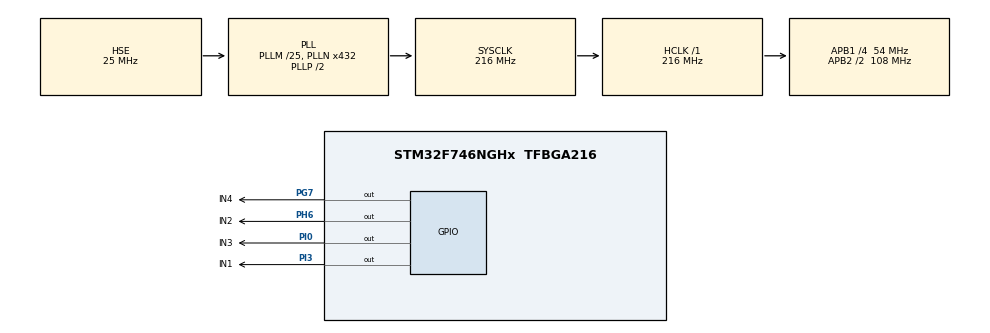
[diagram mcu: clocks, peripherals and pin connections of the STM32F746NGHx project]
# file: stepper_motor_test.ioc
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Mcu.Family=STM32F7
Mcu.Name=STM32F746NGHx
Mcu.Package=TFBGA216
NVIC.PriorityGroup=NVIC_PRIORITYGROUP_4
PA13.Mode=Serial_Wire
PA13.Signal=SYS_JTMS-SWDIO
PA14.Mode=Serial_Wire
PA14.Signal=SYS_JTCK-SWCLK
PG7.GPIO_Label=IN4
PG7.Signal=GPIO_Output
PH0/OSC_IN.Mode=HSE-External-Oscillator
PH0/OSC_IN.Signal=RCC_OSC_IN
PH1/OSC_OUT.Mode=HSE-External-Oscillator
PH1/OSC_OUT.Signal=RCC_OSC_OUT
PH6.GPIO_Label=IN2
PH6.Signal=GPIO_Output
PI0.GPIO_Label=IN3
PI0.Signal=GPIO_Output
PI3.GPIO_Label=IN1
PI3.Signal=GPIO_Output
ProjectManager.HeapSize=0x200
ProjectManager.StackSize=0x400
ProjectManager.TargetToolchain=STM32CubeIDE
RCC.AHBFreq_Value=216000000
RCC.APB1CLKDivider=RCC_HCLK_DIV4
RCC.APB1Freq_Value=54000000
RCC.APB1TimFreq_Value=108000000
RCC.APB2CLKDivider=RCC_HCLK_DIV2
RCC.APB2Freq_Value=108000000
RCC.APB2TimFreq_Value=216000000
RCC.CortexFreq_Value=216000000
RCC.DATA_CACHE_ENABLE=0
RCC.HCLKFreq_Value=216000000
RCC.HSE_VALUE=25000000
RCC.HSI_VALUE=16000000
RCC.INSTRUCTION_CACHE_ENABLE=0
RCC.LSE_VALUE=32768
RCC.PLLM=25
RCC.PLLN=432
RCC.PLLSourceVirtual=RCC_PLLSOURCE_HSE
RCC.PREFETCH_ENABLE=1
RCC.SYSCLKFreq_VALUE=216000000
RCC.SYSCLKSource=RCC_SYSCLKSOURCE_PLLCLK
RCC.USBFreq_Value=216000000
RCC.VCOOutputFreq_Value=432000000
TIM2.Period=0xffff-1
TIM2.Prescaler=108-1
VP_TIM2_VS_ClockSourceINT.Mode=Internal
board=STM32F746G-DISCO

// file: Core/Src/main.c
/* USER CODE BEGIN Header */
/**
  ******************************************************************************
  * @file           : main.c
  * @brief          : Main program body
  ******************************************************************************
  * @attention
  *
  * Copyright (c) 2022 STMicroelectronics.
  * All rights reserved.
  *
  * This software is licensed under terms that can be found in the LICENSE file
  * in the root directory of this software component.
  * If no LICENSE file comes with this software, it is provided AS-IS.
  *
  ******************************************************************************
  */
/* USER CODE END Header */
#include "main.h"
#include "tim.h"
#include "gpio.h"

/* USER CODE BEGIN PD */
#pragma clang diagnostic push
#pragma ide diagnostic ignored "EndlessLoop"
#define stepsperrev 4096
/* USER CODE END PD */

void SystemClock_Config(void);

/* USER CODE BEGIN 0 */
void stepper_step_angle(float angle, int direction, int rpm);

void stepper_half_drive(int step);

void stepper_set_rpm(int rpm);

void delay(uint16_t us);
/* USER CODE END 0 */

int main(void)
{

  /* MCU Configuration--------------------------------------------------------*/

  /* Reset of all peripherals, Initializes the Flash interface and the Systick. */
  HAL_Init();

  /* Configure the system clock */
  SystemClock_Config();

  /* Initialize all configured peripherals */
  MX_GPIO_Init();
  MX_TIM2_Init();
  /* USER CODE BEGIN 2 */
	HAL_TIM_Base_Start(&htim2);
  /* USER CODE END 2 */

  /* Infinite loop */
	while (1) {

    /* USER CODE BEGIN 3 */

		stepper_step_angle(360,1,1);
		HAL_Delay(100000);

	}
  /* USER CODE END 3 */
}

void SystemClock_Config(void)
{
  RCC_OscInitTypeDef RCC_OscInitStruct = {0};
  RCC_ClkInitTypeDef RCC_ClkInitStruct = {0};

  /** Configure the main internal regulator output voltage
  */
  __HAL_RCC_PWR_CLK_ENABLE();
  __HAL_PWR_VOLTAGESCALING_CONFIG(PWR_REGULATOR_VOLTAGE_SCALE1);

  /** Initializes the RCC Oscillators according to the specified parameters
  * in the RCC_OscInitTypeDef structure.
  */
  RCC_OscInitStruct.OscillatorType = RCC_OSCILLATORTYPE_HSE;
  RCC_OscInitStruct.HSEState = RCC_HSE_ON;
  RCC_OscInitStruct.PLL.PLLState = RCC_PLL_ON;
  RCC_OscInitStruct.PLL.PLLSource = RCC_PLLSOURCE_HSE;
  RCC_OscInitStruct.PLL.PLLM = 25;
  RCC_OscInitStruct.PLL.PLLN = 432;
  RCC_OscInitStruct.PLL.PLLP = RCC_PLLP_DIV2;
  RCC_OscInitStruct.PLL.PLLQ = 2;
  if (HAL_RCC_OscConfig(&RCC_OscInitStruct) != HAL_OK)
  {
    Error_Handler();
  }

  /** Activate the Over-Drive mode
  */
  if (HAL_PWREx_EnableOverDrive() != HAL_OK)
  {
    Error_Handler();
  }

  /** Initializes the CPU, AHB and APB buses clocks
  */
  RCC_ClkInitStruct.ClockType = RCC_CLOCKTYPE_HCLK|RCC_CLOCKTYPE_SYSCLK
                              |RCC_CLOCKTYPE_PCLK1|RCC_CLOCKTYPE_PCLK2;
  RCC_ClkInitStruct.SYSCLKSource = RCC_SYSCLKSOURCE_PLLCLK;
  RCC_ClkInitStruct.AHBCLKDivider = RCC_SYSCLK_DIV1;
  RCC_ClkInitStruct.APB1CLKDivider = RCC_HCLK_DIV4;
  RCC_ClkInitStruct.APB2CLKDivider = RCC_HCLK_DIV2;

  if (HAL_RCC_ClockConfig(&RCC_ClkInitStruct, FLASH_LATENCY_7) != HAL_OK)
  {
    Error_Handler();
  }
}

/* USER CODE BEGIN 4 */
void delay(uint16_t us) {
	__HAL_TIM_SET_COUNTER(&htim2, 0);
	while ((uint16_t)__HAL_TIM_GET_COUNTER(&htim2) < us);
}

void stepper_set_rpm(int rpm)  // Set rpm--> max 13, min 1,,,  went to 14 rev/min
{
	delay(60000000 / stepsperrev / rpm);
}

void stepper_half_drive(int step) {
	switch (step) {
		case 0:
			HAL_GPIO_WritePin(IN1_GPIO_Port, IN1_Pin, GPIO_PIN_SET);   // IN1
			HAL_GPIO_WritePin(IN2_GPIO_Port, IN2_Pin, GPIO_PIN_RESET);   // IN2
			HAL_GPIO_WritePin(IN3_GPIO_Port, IN3_Pin, GPIO_PIN_RESET);   // IN3
			HAL_GPIO_WritePin(IN4_GPIO_Port, IN4_Pin, GPIO_PIN_RESET);   // IN4
			break;

		case 1:
			HAL_GPIO_WritePin(IN1_GPIO_Port, IN1_Pin, GPIO_PIN_SET);   // IN1
			HAL_GPIO_WritePin(IN2_GPIO_Port, IN2_Pin, GPIO_PIN_SET);   // IN2
			HAL_GPIO_WritePin(IN3_GPIO_Port, IN3_Pin, GPIO_PIN_RESET);   // IN3
			HAL_GPIO_WritePin(IN4_GPIO_Port, IN4_Pin, GPIO_PIN_RESET);   // IN4
			break;

		case 2:
			HAL_GPIO_WritePin(IN1_GPIO_Port, IN1_Pin, GPIO_PIN_RESET);   // IN1
			HAL_GPIO_WritePin(IN2_GPIO_Port, IN2_Pin, GPIO_PIN_SET);   // IN2
			HAL_GPIO_WritePin(IN3_GPIO_Port, IN3_Pin, GPIO_PIN_RESET);   // IN3
			HAL_GPIO_WritePin(IN4_GPIO_Port, IN4_Pin, GPIO_PIN_RESET);   // IN4
			break;

		case 3:
			HAL_GPIO_WritePin(IN1_GPIO_Port, IN1_Pin, GPIO_PIN_RESET);   // IN1
			HAL_GPIO_WritePin(IN2_GPIO_Port, IN2_Pin, GPIO_PIN_SET);   // IN2
			HAL_GPIO_WritePin(IN3_GPIO_Port, IN3_Pin, GPIO_PIN_SET);   // IN3
			HAL_GPIO_WritePin(IN4_GPIO_Port, IN4_Pin, GPIO_PIN_RESET);   // IN4
			break;

		case 4:
			HAL_GPIO_WritePin(IN1_GPIO_Port, IN1_Pin, GPIO_PIN_RESET);   // IN1
			HAL_GPIO_WritePin(IN2_GPIO_Port, IN2_Pin, GPIO_PIN_RESET);   // IN2
			HAL_GPIO_WritePin(IN3_GPIO_Port, IN3_Pin, GPIO_PIN_SET);   // IN3
			HAL_GPIO_WritePin(IN4_GPIO_Port, IN4_Pin, GPIO_PIN_RESET);   // IN4
			break;

		case 5:
			HAL_GPIO_WritePin(IN1_GPIO_Port, IN1_Pin, GPIO_PIN_RESET);   // IN1
			HAL_GPIO_WritePin(IN2_GPIO_Port, IN2_Pin, GPIO_PIN_RESET);   // IN2
			HAL_GPIO_WritePin(IN3_GPIO_Port, IN3_Pin, GPIO_PIN_SET);   // IN3
			HAL_GPIO_WritePin(IN4_GPIO_Port, IN4_Pin, GPIO_PIN_SET);   // IN4
			break;

		case 6:
			HAL_GPIO_WritePin(IN1_GPIO_Port, IN1_Pin, GPIO_PIN_RESET);   // IN1
			HAL_GPIO_WritePin(IN2_GPIO_Port, IN2_Pin, GPIO_PIN_RESET);   // IN2
			HAL_GPIO_WritePin(IN3_GPIO_Port, IN3_Pin, GPIO_PIN_RESET);   // IN3
			HAL_GPIO_WritePin(IN4_GPIO_Port, IN4_Pin, GPIO_PIN_SET);   // IN4
			break;

		case 7:
			HAL_GPIO_WritePin(IN1_GPIO_Port, IN1_Pin, GPIO_PIN_SET);   // IN1
			HAL_GPIO_WritePin(IN2_GPIO_Port, IN2_Pin, GPIO_PIN_RESET);   // IN2
			HAL_GPIO_WritePin(IN3_GPIO_Port, IN3_Pin, GPIO_PIN_RESET);   // IN3
			HAL_GPIO_WritePin(IN4_GPIO_Port, IN4_Pin, GPIO_PIN_SET);   // IN4
			break;

		default:
			Error_Handler();
			break;
	}
}

void stepper_step_angle(float angle, int direction, int rpm) {
	double angle_per_sequence = 0.703125;  // 360 = 512 sequences
	int number_of_sequences = (int) (angle / angle_per_sequence);

	for (int seq = 0; seq < number_of_sequences; seq++) {
		if (direction == 0)  // for clockwise
		{
			for (int step = 7; step >= 0; step--) {
				stepper_half_drive(step);
				stepper_set_rpm(rpm);
			}

		} else if (direction == 1)  // for anti-clockwise
		{
			for (int step = 0; step < 8; step++) {
				stepper_half_drive(step);
				stepper_set_rpm(rpm);
			}
		}
	}
}

/* USER CODE END 4 */

void Error_Handler(void)
{
	__disable_irq();
	while (1) {
	}
}

#pragma clang diagnostic pop
